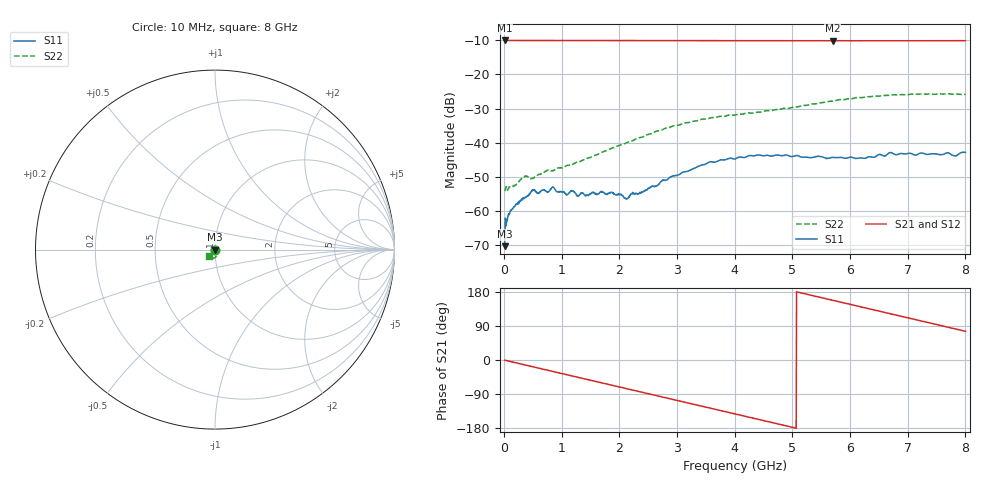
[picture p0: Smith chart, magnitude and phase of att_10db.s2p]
! 2-Port measurement of a 10 dB attenuator, SMA(m)-SMA(f)
# Hz S  dB  R 50
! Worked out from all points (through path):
!   1251 points, 10 MHz to 8 GHz, reference 50 ohm
!   highest |S21| = -10.01 dB at 10 MHz (marker M1); lowest = -10.1 dB at 5.699 GHz (marker M2)
!   group delay of S21, straight-line fit = 98.6 ps
!   lowest |S11| = -70.4 dB at 10 MHz (marker M3), VSWR 1.00, Z = 50 - j0.00401 ohm
!   |S11| at or under -10 dB: start of sweep to end of sweep
!   |S22| runs from -54.2 to -25.6 dB; largest |S21 - S12| = 0.00026
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1e7  -70.41 -7.6  -10.01 -0.4  -10.01 -0.4  -54.20 0.5
5.4744e7  -62.88 -2.7  -10.02 -2.0  -10.02 -2.0  -53.62 6.6
1.0588e8  -60.13 1.3  -10.01 -3.8  -10.02 -3.8  -53.15 7.7
3.55168e8  -56.17 17.5  -10.02 -12.7  -10.03 -12.7  -49.89 1.1
4.95792e8  -54.08 6.4  -10.03 -17.7  -10.03 -17.7  -50.50 1.0
7.57864e8  -54.43 -8.9  -10.04 -27.1  -10.04 -27.1  -48.16 -6.6
8.47352e8  -52.96 -15.0  -10.04 -30.3  -10.04 -30.3  -48.14 -9.0
1.083856e9  -55.44 -29.0  -10.04 -38.7  -10.05 -38.7  -46.76 -10.2
1.179736e9  -54.26 -34.3  -10.04 -42.1  -10.05 -42.1  -46.55 -10.8
1.345928e9  -54.72 -45.7  -10.05 -48.0  -10.05 -48.0  -45.36 -11.0
1.857288e9  -54.56 -77.9  -10.06 -66.1  -10.06 -66.1  -41.72 -13.1
2.11936e9  -56.42 -96.1  -10.07 -75.4  -10.07 -75.4  -40.10 -16.6
2.675464e9  -52.39 -136.4  -10.08 -95.1  -10.08 -95.1  -36.53 -26.4
3.55756e9  -45.71 -169.7  -10.09 -126.4  -10.09 -126.4  -32.85 -49.5
4.005e9  -44.81 175.3  -10.09 -142.3  -10.10 -142.3  -31.93 -58.6
4.414088e9  -43.61 163.6  -10.10 -156.8  -10.10 -156.8  -31.06 -64.6
5.340928e9  -44.41 147.8  -10.10 170.3  -10.10 170.3  -28.67 -77.0
5.69888e9  -44.36 148.6  -10.11 157.6  -10.11 157.6  -27.85 -82.6
6.248592e9  -44.62 151.2  -10.10 138.1  -10.11 138.1  -26.67 -94.3
6.670464e9  -43.09 148.3  -10.10 123.1  -10.10 123.1  -26.12 -103.9
7.821024e9  -43.96 144.6  -10.09 82.2  -10.09 82.2  -25.76 -128.1
8e9  -42.88 148.3  -10.08 75.8  -10.08 75.8  -25.83 -132.0
